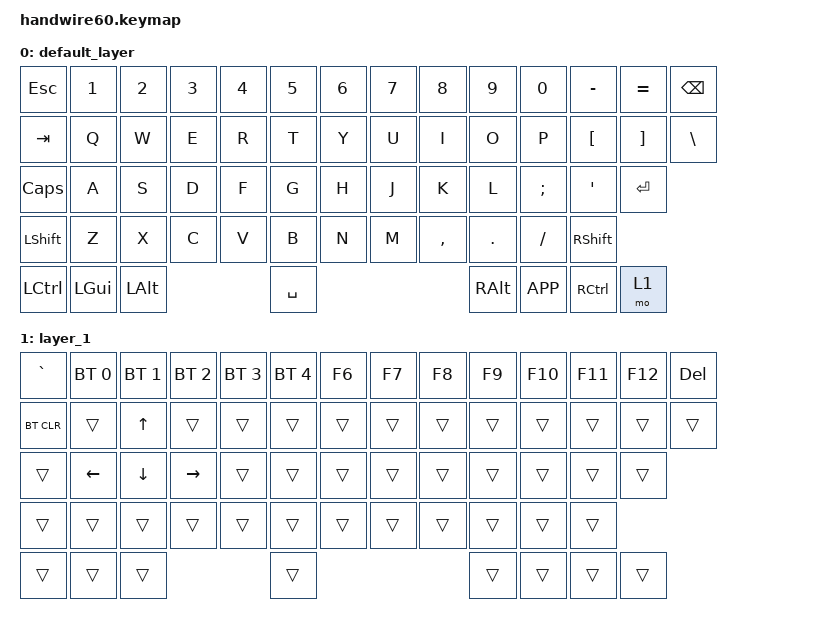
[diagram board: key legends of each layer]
#include <behaviors.dtsi>
#include <dt-bindings/zmk/keys.h>
#include <dt-bindings/zmk/bt.h>

/ {
    keymap {
        compatible = "zmk,keymap";

        default_layer {
            bindings = <
&kp ESC   &kp N1    &kp N2    &kp N3    &kp N4    &kp N5    &kp N6    &kp N7    &kp N8    &kp N9    &kp N0    &kp MINUS &kp EQUAL &kp BSPC
&kp TAB   &kp Q     &kp W     &kp E     &kp R     &kp T     &kp Y     &kp U     &kp I     &kp O     &kp P     &kp LBKT  &kp RBKT  &kp BSLH
&kp CAPS  &kp A     &kp S     &kp D     &kp F     &kp G     &kp H     &kp J     &kp K     &kp L     &kp SEMI  &kp SQT   &kp RET
&kp LSHFT &kp Z     &kp X     &kp C     &kp V     &kp B     &kp N     &kp M     &kp COMMA &kp DOT   &kp FSLH  &kp RSHFT
&kp LCTRL &kp LGUI  &kp LALT                      &kp SPACE                               &kp RALT  &kp K_APP &kp RCTRL &mo 1
            >;
        };

        layer_1 {
            bindings = <
&kp GRAVE  &bt BT_SEL 0 &bt BT_SEL 1 &bt BT_SEL 2 &bt BT_SEL 3 &bt BT_SEL 4 &kp F6    &kp F7    &kp F8    &kp F9    &kp F10   &kp F11   &kp F12   &kp DEL
&bt BT_CLR &trans       &kp UP       &trans       &trans       &trans       &trans    &trans    &trans    &trans    &trans    &trans    &trans    &trans
&trans     &kp LEFT     &kp DOWN     &kp RIGHT    &trans       &trans       &trans    &trans    &trans    &trans    &trans    &trans    &trans
&trans     &trans       &trans       &trans       &trans       &trans       &trans    &trans    &trans    &trans    &trans    &trans
&trans     &trans       &trans                                 &trans                                     &trans    &trans    &trans    &trans
            >;
        };
    };
};
